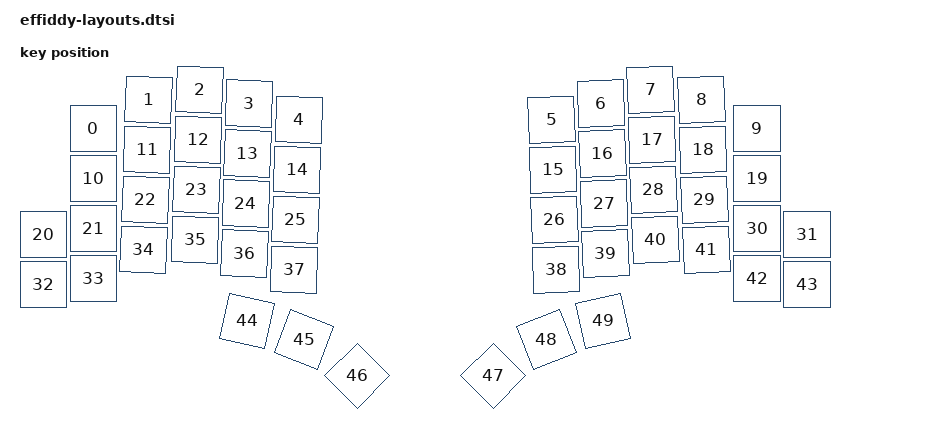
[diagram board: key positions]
#include <physical_layouts.dtsi>

/ {
    effiddy_layout: effiddy_layout {
        compatible = "zmk,physical-layout";
        display-name = "effiddy";

        keys  //                     w   h    x    y     rot    rx    ry
            = <&key_physical_attrs 100 100  100   78       0     0     0>
            , <&key_physical_attrs 100 100  211   20     200   261    70>
            , <&key_physical_attrs 100 100  313    0     200   363    50>
            , <&key_physical_attrs 100 100  412   27     200   462    77>
            , <&key_physical_attrs 100 100  512   60     200   562   110>
            , <&key_physical_attrs 100 100 1017   60  (-200)  1067   110>
            , <&key_physical_attrs 100 100 1116   27  (-200)  1166    77>
            , <&key_physical_attrs 100 100 1215    0  (-200)  1265    50>
            , <&key_physical_attrs 100 100 1317   20  (-200)  1367    70>
            , <&key_physical_attrs 100 100 1428   78       0     0     0>
            , <&key_physical_attrs 100 100  100  178       0     0     0>
            , <&key_physical_attrs 100 100  208  120     200   258   170>
            , <&key_physical_attrs 100 100  310  100     200   360   150>
            , <&key_physical_attrs 100 100  409  127     200   459   177>
            , <&key_physical_attrs 100 100  508  160     200   558   210>
            , <&key_physical_attrs 100 100 1020  160  (-200)  1070   210>
            , <&key_physical_attrs 100 100 1119  127  (-200)  1169   177>
            , <&key_physical_attrs 100 100 1218  100  (-200)  1268   150>
            , <&key_physical_attrs 100 100 1320  120  (-200)  1370   170>
            , <&key_physical_attrs 100 100 1428  178       0     0     0>
            , <&key_physical_attrs 100 100    0  290       0     0     0>
            , <&key_physical_attrs 100 100  100  278       0     0     0>
            , <&key_physical_attrs 100 100  205  220     200   255   270>
            , <&key_physical_attrs 100 100  307  200     200   357   250>
            , <&key_physical_attrs 100 100  406  227     200   456   277>
            , <&key_physical_attrs 100 100  505  260     200   555   310>
            , <&key_physical_attrs 100 100 1023  260  (-200)  1073   310>
            , <&key_physical_attrs 100 100 1122  227  (-200)  1172   277>
            , <&key_physical_attrs 100 100 1221  200  (-200)  1271   250>
            , <&key_physical_attrs 100 100 1323  220  (-200)  1373   270>
            , <&key_physical_attrs 100 100 1428  278       0     0     0>
            , <&key_physical_attrs 100 100 1528  290       0     0     0>
            , <&key_physical_attrs 100 100    0  390       0     0     0>
            , <&key_physical_attrs 100 100  100  378       0     0     0>
            , <&key_physical_attrs 100 100  201  320     200   251   370>
            , <&key_physical_attrs 100 100  304  300     200   354   350>
            , <&key_physical_attrs 100 100  403  327     200   453   377>
            , <&key_physical_attrs 100 100  502  360     200   552   410>
            , <&key_physical_attrs 100 100 1026  360  (-200)  1076   410>
            , <&key_physical_attrs 100 100 1125  327  (-200)  1175   377>
            , <&key_physical_attrs 100 100 1225  300  (-200)  1275   350>
            , <&key_physical_attrs 100 100 1327  320  (-200)  1377   370>
            , <&key_physical_attrs 100 100 1428  378       0     0     0>
            , <&key_physical_attrs 100 100 1528  390       0     0     0>
            , <&key_physical_attrs 100 100  408  462    1200   458   512>
            , <&key_physical_attrs 100 100  522  499    2100   572   549>
            , <&key_physical_attrs 100 100  628  572 (-4500)   678   622>
            , <&key_physical_attrs 100 100  900  572    4500   950   622>
            , <&key_physical_attrs 100 100 1007  499 (-2100)  1057   549>
            , <&key_physical_attrs 100 100 1120  462 (-1200)  1170   512>
            ;
    };
};
